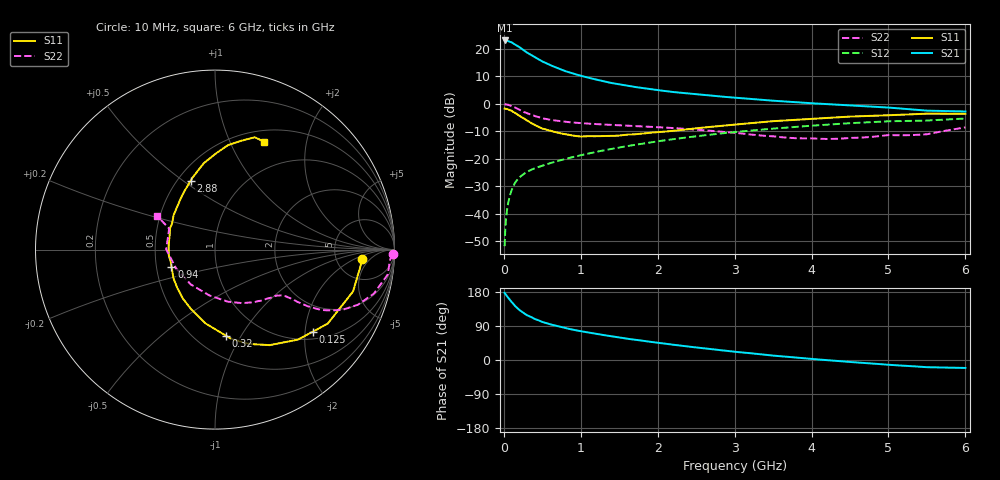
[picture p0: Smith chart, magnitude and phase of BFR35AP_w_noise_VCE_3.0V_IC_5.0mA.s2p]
! Infineon Technologies  Discrete & RF Semiconductors
! BFR35AP
! VCE =  3.0 V,  IC =  5.0 mA
! Common Emitter S-Parameters:  Nov 2015
# GHz  S  MA  R  50
!  f  S11  S21  S12  S22
! GHz  MAG  ANG  MAG  ANG  MAG  ANG  MAG  ANG
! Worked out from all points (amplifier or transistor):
!   210 points, 10 MHz to 6 GHz, reference 50 ohm
!   highest |S21| = 23.1 dB at 10 MHz (marker M1)
!   |S21| within 3 dB of that: start of sweep to 230.4 MHz
!   unconditionally stable (mu >= 1): 792.2 MHz to 3.561 GHz
!   at 185 MHz: K = 0.38, MSG = 24.1 dB, |S12| = -27.3 dB
!   at 1.52 GHz: K = 1.13, MAG = 9.2 dB, |S12| = -15.7 dB
!   at 6 GHz: K = 0.97, MSG = 1.3 dB, |S12| = -5.3 dB
!   lowest NFmin = 1.50 dB at 450 MHz
!   S11 on the Smith chart (normalised r, x): 10 MHz: 9.29, -2.86; 125 MHz: 1.19, -2.20; 320 MHz: 0.69, -0.86; 940 MHz: 0.60, -0.12; 2.88 GHz: 0.58, +0.53; 6 GHz: 0.63, +1.35
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0.01  0.821 -3.5  14.21 177.2  0.0026 91.2  0.9919 -1.5
0.025  0.8121 -8.3  13.94 172.8  0.0071 84.8  0.9762 -4.0
0.05  0.8037 -16.9  13.96 166.0  0.0142 81.5  0.9717 -8.3
0.1  0.7513 -33.3  13.16 153.4  0.0268 73.5  0.9186 -15.5
0.125  0.7114 -40.0  12.46 147.8  0.0322 69.6  0.8848 -18.2
0.15  0.6821 -47.3  11.89 141.6  0.0378 66.8  0.8532 -21.1
0.2  0.6134 -60.2  10.8 132.3  0.0458 62.4  0.7866 -25.2
0.26  0.5442 -72.6  9.4 123.4  0.0535 58.8  0.7143 -28.3
0.3  0.5034 -80.0  8.584 118.3  0.0583 57.9  0.6779 -29.7
0.32  0.4825 -82.9  8.267 116.6  0.0601 57.4  0.6628 -30.0
0.4  0.4146 -97.3  7.085 108.5  0.0675 55.6  0.6024 -31.5
0.5  0.3573 -111.9  5.904 100.4  0.0753 55.1  0.5477 -32.3
0.7  0.3 -134.4  4.452 89.0  0.0916 56.0  0.492 -33.0
0.94  0.2603 -158.7  3.427 78.4  0.1117 56.8  0.4539 -34.2
1.02  0.2561 -166.3  3.191 75.3  0.1183 57.1  0.4453 -34.8
1.4  0.2618 166.1  2.395 62.5  0.1519 56.7  0.417 -39.3
2.02  0.3079 135.9  1.765 45.0  0.2109 53.5  0.3756 -49.8
2.88  0.4057 109.6  1.339 24.6  0.296 45.6  0.3077 -71.9
3.1  0.4328 105.0  1.263 20.0  0.317 43.0  0.2882 -79.6
4.1  0.547 87.8  1.009 1.2  0.41 30.8  0.2323 -130.6
5.1  0.6299 75.4  0.836 -13.8  0.4855 16.7  0.2695 174.8
6  0.6607 65.5  0.728 -21.0  0.5427 6.4  0.3738 149.8
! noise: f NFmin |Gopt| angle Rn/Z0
0.45  1.5  0.28  29  0.34
0.9  1.8  0.25  59  0.34
